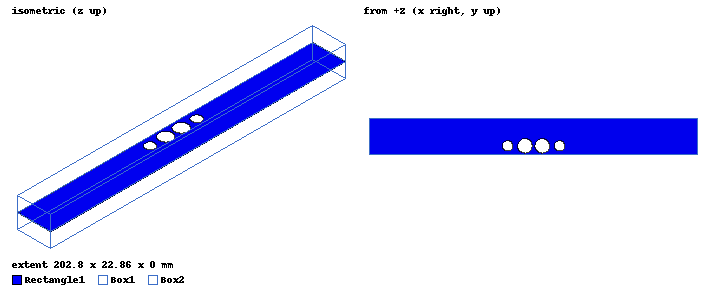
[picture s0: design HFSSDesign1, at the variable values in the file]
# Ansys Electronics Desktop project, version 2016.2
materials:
  vacuum: permittivity=1

design HFSSDesign1 (HFSS, DrivenModal, model units mm)
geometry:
  Box1 [vacuum] = box(corner=(0mm, 0mm, 0mm), size=(20.285cm, 2.286cm, 1.016cm))
  Box2 [vacuum] = box(corner=(0cm, 0cm, 1.016cm), size=(20.285cm, 2.286cm, 1.016cm))
  Rectangle1 = rectangle(corner=(0mm, 0mm, 10.16mm), x_size=20.285cm, y_size=2.286cm)
  Circle1 = circle(normal=Z, centre=(11.744cm, 0.572cm, 1.016cm), radius=3.26mm)
  Circle2 = circle(normal=Z, centre=(10.674cm, 0.572cm, 1.016cm), radius=4.51mm)
  Circle3 = circle(normal=Z, centre=(9.604cm, 0.572cm, 1.016cm), radius=4.51mm)
  Circle4 = circle(normal=Z, centre=(8.534cm, 0.572cm, 1.016cm), radius=3.26mm)
  Rectangle1.subtract(Circle1)
  Rectangle1.subtract(Circle2)
  Rectangle1.subtract(Circle3)
  Rectangle1.subtract(Circle4)
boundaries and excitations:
  body: Perfect E Faces=Box2.face(+z, +y, -y) Box1.face(+y, -y, -z)
  middle_sheet: Perfect E Objects=Rectangle1
  Input: Wave Port Faces=Box1.face(+x) NumModes=1 Modes{Mode1{IntLine{middle of Box1.edge(5 of 12) -> middle of Box1.edge(1 of 12)} CharImp=Zpi}}
  Isolated: Wave Port Faces=Box2.face(+x) NumModes=1 Modes{Mode1{CharImp=Zpi}}
  Coupled: Wave Port Faces=Box2.face(-x) NumModes=1 Modes{Mode1{CharImp=Zpi}}
  Directed: Wave Port Faces=Box1.face(-x) NumModes=1 Modes{Mode1{CharImp=Zpi}}
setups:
  Setup1: HfssDriven Frequency=7.025GHz MaxDeltaS=0.02 MaximumPasses=6 MinimumPasses=1 MinimumConvergedPasses=1 PercentRefinement=30 BasisOrder=1 PortAccuracy=2
    sweep Sweep: 6GHz to 8GHz step 50MHz; Type=Interpolating InterpTolerance=0.5 InterpMaxSolns=250 InterpUsePortImped=false PassivityErrorTolerance=0.0001
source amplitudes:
  Input:1: 1W 0deg
  Isolated:1, Coupled:1, Directed:1: 0W 0deg
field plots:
  Mag_E1: E Field on Setup1 : LastAdaptive at Freq=7.025GHz Phase=0deg
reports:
  Coupling: dB(S(Input,Coupled)) vs Freq on Setup1 : Sweep
  Isolation: dB(S(Input,Isolated)) vs Freq on Setup1 : Sweep
  Directivity: dB(S(Coupled,Directed)) vs Freq on Setup1 : Sweep
  S43: dB(S(Directed,Coupled)) vs Freq on Setup1 : Sweep
